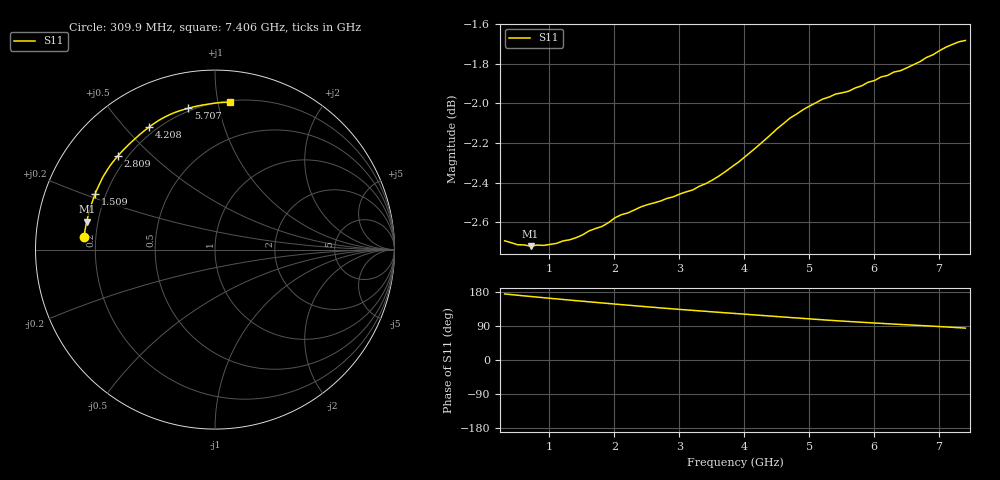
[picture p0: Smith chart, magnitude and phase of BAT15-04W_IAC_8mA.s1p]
! Infineon Technologies  Discrete & RF Semiconductors
! BAT15-04W-E6327
! IAC = 8 mA
! One-Port S-Parameters
# Hz  S  MA  R  50
!f  S11
!Hz  Mag  Ang
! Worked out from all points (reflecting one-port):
!   72 points, 309.9 MHz to 7.406 GHz, reference 50 ohm
!   lowest |S11| = -2.7 dB at 709.6 MHz (marker M1), VSWR 6.44, Z = 7.85 + j5.28 ohm
!   phase of S11 starts at 174 deg and turns -90 deg over the sweep
!   S11 on the Smith chart (normalised r, x): 309.9 MHz: 0.15, +0.05; 1.509 GHz: 0.16, +0.22; 2.809 GHz: 0.16, +0.39; 4.208 GHz: 0.17, +0.58; 5.707 GHz: 0.18, +0.81; 7.406 GHz: 0.21, +1.08
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3.0985e8  0.7335 174.3
6.097e8  0.7317 169.2
7.0965e8  0.7312 167.6
1.0095e9  0.7319 162.8
1.2094e9  0.7334 159.7
1.50925e9  0.736 155.1
1.70915e9  0.7387 152.0
2.10895e9  0.7447 146.1
2.4088e9  0.748 141.8
2.50875e9  0.749 140.3
2.8086e9  0.7517 136.2
3.0085e9  0.7537 133.5
3.30835e9  0.7571 129.6
3.90805e9  0.7676 122.1
4.2079e9  0.7749 118.4
4.50775e9  0.7828 114.7
4.8076e9  0.7895 110.9
5.2074e9  0.7964 106.1
5.4073e9  0.7987 103.8
5.6072e9  0.8 101.6
5.70715e9  0.8015 100.7
6.10695e9  0.8067 96.7
6.30685e9  0.809 94.7
6.6067e9  0.8124 92.0
6.8066e9  0.8158 90.2
7.10645e9  0.8207 87.3
7.30635e9  0.8233 85.3
7.4063e9  0.8239 84.2
